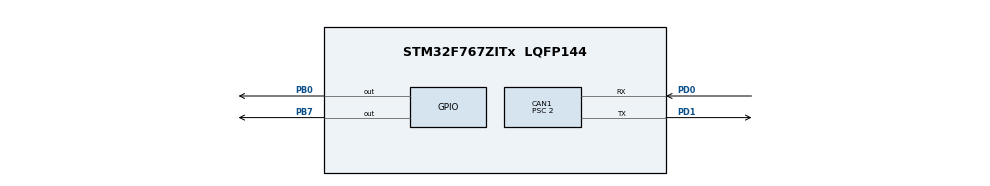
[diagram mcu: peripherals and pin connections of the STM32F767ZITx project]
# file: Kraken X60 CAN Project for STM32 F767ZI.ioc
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CAN1.BS1=CAN_BS1_5TQ
CAN1.BS2=CAN_BS2_2TQ
CAN1.CalculateBaudRate=1000000
CAN1.CalculateTimeBit=1000
CAN1.CalculateTimeQuantum=125.0
CAN1.Prescaler=2
CORTEX_M7.default_mode_Activation=1
FREERTOS.Tasks01=run01,24,256,StartRun01Task,Default,NULL,Dynamic,NULL,NULL;run02,8,256,StartRun02Task,Default,NULL,Dynamic,NULL,NULL
FREERTOS.configUSE_NEWLIB_REENTRANT=1
Mcu.Family=STM32F7
Mcu.Name=STM32F767ZITx
Mcu.Package=LQFP144
NVIC.PriorityGroup=NVIC_PRIORITYGROUP_4
NVIC.TIM6_DAC_IRQn=true\:15\:0\:false\:false\:true\:false\:false\:true\:true
NVIC.TimeBase=TIM6_DAC_IRQn
NVIC.TimeBaseIP=TIM6
PB0.Signal=GPIO_Output
PB7.Signal=GPIO_Output
PD0.Mode=CAN_Activate
PD0.Signal=CAN1_RX
PD1.Mode=CAN_Activate
PD1.Signal=CAN1_TX
ProjectManager.HeapSize=0x200
ProjectManager.StackSize=0x400
ProjectManager.TargetToolchain=STM32CubeIDE
RCC.HSE_VALUE=25000000
RCC.HSI_VALUE=16000000
RCC.LSE_VALUE=32768
RCC.USBFreq_Value=96000000
RCC.VCOOutputFreq_Value=192000000
VP_FREERTOS_VS_CMSIS_V2.Mode=CMSIS_V2
VP_SYS_VS_tim6.Mode=TIM6
board=custom

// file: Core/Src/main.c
/* USER CODE BEGIN Header */
/**
  ******************************************************************************
  * @file           : main.c
  * @brief          : Main program body
  ******************************************************************************
  * @attention
  *
  * Copyright (c) 2025 STMicroelectronics.
  * All rights reserved.
  *
  * This software is licensed under terms that can be found in the LICENSE file
  * in the root directory of this software component.
  * If no LICENSE file comes with this software, it is provided AS-IS.
  *
  ******************************************************************************
  */
/* USER CODE END Header */
#include "main.h"
#include "cmsis_os.h"

/* USER CODE BEGIN Includes */
void sendCANMessage(CAN_HandleTypeDef *hcan, int identifier, char *message, uint8_t length)
{
	  uint32_t mb;
	  CAN_TxHeaderTypeDef hdr;

	  hdr.ExtId = identifier;
	  hdr.IDE = CAN_ID_EXT;
	  hdr.RTR = CAN_RTR_DATA;
	  hdr.DLC = length;
	  hdr.TransmitGlobalTime = DISABLE;

	  while (HAL_CAN_GetTxMailboxesFreeLevel(hcan) == 0) {
	  }

	  if (HAL_CAN_AddTxMessage(hcan, &hdr, (unsigned char *) message, &mb) != HAL_OK)
		Error_Handler();
}

void sendGlobalEnableFrame(CAN_HandleTypeDef *hcan)
{
	  uint32_t mb;
	  CAN_TxHeaderTypeDef hdr;

	  hdr.ExtId = 0x401bf;
	  hdr.IDE = CAN_ID_EXT;
	  hdr.RTR = CAN_RTR_DATA;
	  hdr.DLC = 2;
	  hdr.TransmitGlobalTime = DISABLE;

	  while (HAL_CAN_GetTxMailboxesFreeLevel(hcan) == 0) {
	  }

	  if (HAL_CAN_AddTxMessage(hcan, &hdr, (unsigned char *) "\x01\x00", &mb) != HAL_OK)
		Error_Handler();
}
/* USER CODE END Includes */

CAN_HandleTypeDef hcan1;

/* Definitions for run01 */
osThreadId_t run01Handle;
const osThreadAttr_t run01_attributes = {
  .name = "run01",
  .stack_size = 256 * 4,
  .priority = (osPriority_t) osPriorityNormal,
};
/* Definitions for run02 */
osThreadId_t run02Handle;
const osThreadAttr_t run02_attributes = {
  .name = "run02",
  .stack_size = 256 * 4,
  .priority = (osPriority_t) osPriorityLow,
};

void SystemClock_Config(void);
static void MPU_Config(void);
static void MX_GPIO_Init(void);
static void MX_CAN1_Init(void);
void StartRun01Task(void *argument);
void StartRun02Task(void *argument);

int main(void)
{

  /* MPU Configuration--------------------------------------------------------*/
  MPU_Config();

  /* MCU Configuration--------------------------------------------------------*/

  /* Reset of all peripherals, Initializes the Flash interface and the Systick. */
  HAL_Init();

  /* Configure the system clock */
  SystemClock_Config();

  /* Initialize all configured peripherals */
  MX_GPIO_Init();
  MX_CAN1_Init();

  /* Init scheduler */
  osKernelInitialize();

  /* Create the thread(s) */
  /* creation of run01 */
  run01Handle = osThreadNew(StartRun01Task, NULL, &run01_attributes);

  /* creation of run02 */
  run02Handle = osThreadNew(StartRun02Task, NULL, &run02_attributes);

  /* Start scheduler */
  osKernelStart();
  /* We should never get here as control is now taken by the scheduler */

  /* Infinite loop */

}

void SystemClock_Config(void)
{
  RCC_OscInitTypeDef RCC_OscInitStruct = {0};
  RCC_ClkInitTypeDef RCC_ClkInitStruct = {0};

  /** Configure the main internal regulator output voltage
  */
  __HAL_RCC_PWR_CLK_ENABLE();
  __HAL_PWR_VOLTAGESCALING_CONFIG(PWR_REGULATOR_VOLTAGE_SCALE3);

  /** Initializes the RCC Oscillators according to the specified parameters
  * in the RCC_OscInitTypeDef structure.
  */
  RCC_OscInitStruct.OscillatorType = RCC_OSCILLATORTYPE_HSI;
  RCC_OscInitStruct.HSIState = RCC_HSI_ON;
  RCC_OscInitStruct.HSICalibrationValue = RCC_HSICALIBRATION_DEFAULT;
  RCC_OscInitStruct.PLL.PLLState = RCC_PLL_NONE;
  if (HAL_RCC_OscConfig(&RCC_OscInitStruct) != HAL_OK)
  {
    Error_Handler();
  }

  /** Initializes the CPU, AHB and APB buses clocks
  */
  RCC_ClkInitStruct.ClockType = RCC_CLOCKTYPE_HCLK|RCC_CLOCKTYPE_SYSCLK
                              |RCC_CLOCKTYPE_PCLK1|RCC_CLOCKTYPE_PCLK2;
  RCC_ClkInitStruct.SYSCLKSource = RCC_SYSCLKSOURCE_HSI;
  RCC_ClkInitStruct.AHBCLKDivider = RCC_SYSCLK_DIV1;
  RCC_ClkInitStruct.APB1CLKDivider = RCC_HCLK_DIV1;
  RCC_ClkInitStruct.APB2CLKDivider = RCC_HCLK_DIV1;

  if (HAL_RCC_ClockConfig(&RCC_ClkInitStruct, FLASH_LATENCY_0) != HAL_OK)
  {
    Error_Handler();
  }
}

static void MX_CAN1_Init(void)
{

  hcan1.Instance = CAN1;
  hcan1.Init.Prescaler = 2;
  hcan1.Init.Mode = CAN_MODE_NORMAL;
  hcan1.Init.SyncJumpWidth = CAN_SJW_1TQ;
  hcan1.Init.TimeSeg1 = CAN_BS1_5TQ;
  hcan1.Init.TimeSeg2 = CAN_BS2_2TQ;
  hcan1.Init.TimeTriggeredMode = DISABLE;
  hcan1.Init.AutoBusOff = DISABLE;
  hcan1.Init.AutoWakeUp = DISABLE;
  hcan1.Init.AutoRetransmission = DISABLE;
  hcan1.Init.ReceiveFifoLocked = DISABLE;
  hcan1.Init.TransmitFifoPriority = DISABLE;
  if (HAL_CAN_Init(&hcan1) != HAL_OK)
  {
    Error_Handler();
  }
  /* USER CODE BEGIN CAN1_Init 2 */
  if (HAL_CAN_Start(&hcan1) != HAL_OK) {
	  Error_Handler();
 }
  /* USER CODE END CAN1_Init 2 */

}

static void MX_GPIO_Init(void)
{
  GPIO_InitTypeDef GPIO_InitStruct = {0};

  /* GPIO Ports Clock Enable */
  __HAL_RCC_GPIOB_CLK_ENABLE();
  __HAL_RCC_GPIOD_CLK_ENABLE();

  /*Configure GPIO pin Output Level */
  HAL_GPIO_WritePin(GPIOB, GPIO_PIN_0|GPIO_PIN_7, GPIO_PIN_RESET);

  /*Configure GPIO pins : PB0 PB7 */
  GPIO_InitStruct.Pin = GPIO_PIN_0|GPIO_PIN_7;
  GPIO_InitStruct.Mode = GPIO_MODE_OUTPUT_PP;
  GPIO_InitStruct.Pull = GPIO_NOPULL;
  GPIO_InitStruct.Speed = GPIO_SPEED_FREQ_LOW;
  HAL_GPIO_Init(GPIOB, &GPIO_InitStruct);

}

void StartRun01Task(void *argument)
{
  /* USER CODE BEGIN 5 */
	char setTo1[8] = {0x00, 0x01, 0x00, 0x00, 0x00, 0x00, 0x00, 0x04};
  /* Infinite loop */
  for(;;)
  {
	sendGlobalEnableFrame(&hcan1);
	sendCANMessage(&hcan1, 0x204b540 | 0x1b, setTo1, 8);
    osDelay(1);
//    HAL_GPIO_TogglePin(GPIOB, GPIO_PIN_0);
//    osDelay(500);
  }
  /* USER CODE END 5 */
}

void StartRun02Task(void *argument)
{
  /* USER CODE BEGIN StartRun02Task */
//  char setTo1[8] = {0x00, 0x01, 0x00, 0x00, 0x00, 0x00, 0x00, 0x01};
  /* Infinite loop */
  for(;;)
  {
//	sendGlobalEnableFrame(&hcan1);
//	sendCANMessage(&hcan1, 0x204b540 | 0x1b, setTo1, 8);
//    osDelay(1);
    HAL_GPIO_TogglePin(GPIOB, GPIO_PIN_7);
    osDelay(100);
  }
  /* USER CODE END StartRun02Task */
}

 /* MPU Configuration */

void MPU_Config(void)
{
  MPU_Region_InitTypeDef MPU_InitStruct = {0};

  /* Disables the MPU */
  HAL_MPU_Disable();

  /** Initializes and configures the Region and the memory to be protected
  */
  MPU_InitStruct.Enable = MPU_REGION_ENABLE;
  MPU_InitStruct.Number = MPU_REGION_NUMBER0;
  MPU_InitStruct.BaseAddress = 0x0;
  MPU_InitStruct.Size = MPU_REGION_SIZE_4GB;
  MPU_InitStruct.SubRegionDisable = 0x87;
  MPU_InitStruct.TypeExtField = MPU_TEX_LEVEL0;
  MPU_InitStruct.AccessPermission = MPU_REGION_NO_ACCESS;
  MPU_InitStruct.DisableExec = MPU_INSTRUCTION_ACCESS_DISABLE;
  MPU_InitStruct.IsShareable = MPU_ACCESS_SHAREABLE;
  MPU_InitStruct.IsCacheable = MPU_ACCESS_NOT_CACHEABLE;
  MPU_InitStruct.IsBufferable = MPU_ACCESS_NOT_BUFFERABLE;

  HAL_MPU_ConfigRegion(&MPU_InitStruct);
  /* Enables the MPU */
  HAL_MPU_Enable(MPU_PRIVILEGED_DEFAULT);

}

void HAL_TIM_PeriodElapsedCallback(TIM_HandleTypeDef *htim)
{
  if (htim->Instance == TIM6)
  {
    HAL_IncTick();
  }
}

void Error_Handler(void)
{
  __disable_irq();
  while (1)
  {
  }
}
